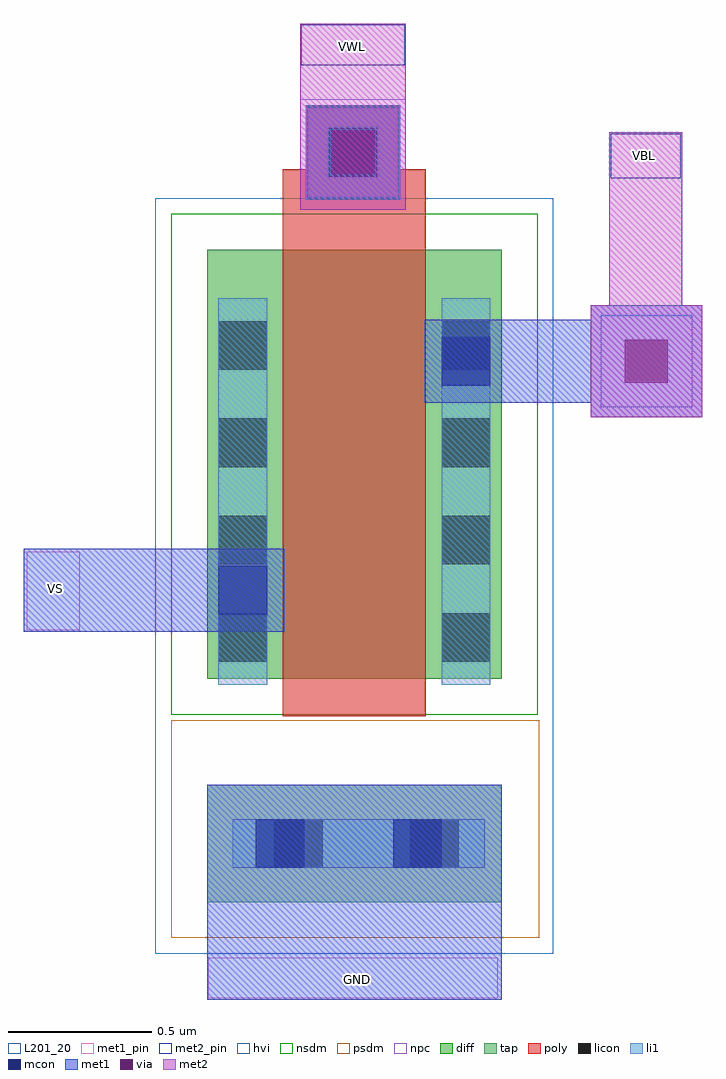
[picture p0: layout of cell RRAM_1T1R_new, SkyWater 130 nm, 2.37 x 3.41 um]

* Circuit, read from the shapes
.subckt RRAM_1T1R_new GND VBL VS VWL
XM1 VBL VWL VS GND sky130_fd_pr__nfet_g5v0d10v5 w=1.5 l=0.5
.ends

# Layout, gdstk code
from math import pi, radians
import gdstk
lib = gdstk.Library(unit=1e-6, precision=1e-09)
def R(c, l, rs):  # rectangles x0, y0, x1, y1
    for r in rs: c.add(gdstk.rectangle(r[:2], r[2:], *l))
def A(c, l, x, y, w, h, nx, ny, dx, dy):  # array of equal rectangles
    R(c, l, [(x+i*dx, y+j*dy, x+i*dx+w, y+j*dy+h) for i in range(nx) for j in range(ny)])
diff = (65, 20)
tap = (65, 44)
poly = (66, 20)
licon = (66, 44)
li1 = (67, 20)
mcon = (67, 44)
met1_pin = (68, 16)
met1 = (68, 20)
via = (68, 44)
met2_pin = (69, 16)
met2 = (69, 20)
hvi = (75, 20)
nsdm = (93, 44)
psdm = (94, 20)
npc = (95, 20)
L201_20 = (201, 20)

l1m1_c_cdns_630369580172 = lib.new_cell('L1M1_C_CDNS_6303695801729')
R(l1m1_c_cdns_630369580172, li1, [(-0.085,-0.085,0.085,0.085)])
R(l1m1_c_cdns_630369580172, mcon, [(-0.085,-0.085,0.085,0.085)])
R(l1m1_c_cdns_630369580172, met1, [(-0.16,-0.16,0.16,0.16)])

l1m1_c_cdns_630369580173 = lib.new_cell('L1M1_C_CDNS_6303695801734')
R(l1m1_c_cdns_630369580173, li1, [(-0.085,-0.085,0.085,0.085)])
R(l1m1_c_cdns_630369580173, mcon, [(-0.085,-0.085,0.085,0.085)])
R(l1m1_c_cdns_630369580173, met1, [(-0.145,-0.145,0.145,0.145)])

m1m2_c_cdns_630369580172 = lib.new_cell('M1M2_C_CDNS_6303695801725')
R(m1m2_c_cdns_630369580172, met1, [(-0.16,-0.16,0.16,0.16)])
R(m1m2_c_cdns_630369580172, via, [(-0.075,-0.075,0.075,0.075)])
R(m1m2_c_cdns_630369580172, met2, [(-0.16,-0.16,0.16,0.16)])

pyl1_c_cdns_630369580173 = lib.new_cell('PYL1_C_CDNS_6303695801737')
R(pyl1_c_cdns_630369580173, poly, [(-0.165,-0.165,0.165,0.165)])
R(pyl1_c_cdns_630369580173, licon, [(-0.085,-0.085,0.085,0.085)])
R(pyl1_c_cdns_630369580173, li1, [(-0.165,-0.165,0.165,0.165)])
R(pyl1_c_cdns_630369580173, npc, [(-0.185,-0.185,0.185,0.185)])

sky130_fd_pr_reram__rera = lib.new_cell('sky130_fd_pr_reram__reram_cell')
R(sky130_fd_pr_reram__rera, met1_pin, [(-0.195,-0.195,0.195,0.195)])
R(sky130_fd_pr_reram__rera, met1, [(-0.195,-0.195,0.195,0.195)])
R(sky130_fd_pr_reram__rera, via, [(-0.075,-0.075,0.075,0.075)])
R(sky130_fd_pr_reram__rera, met2_pin, [(-0.195,-0.195,0.195,0.195)])
R(sky130_fd_pr_reram__rera, met2, [(-0.195,-0.195,0.195,0.195)])
R(sky130_fd_pr_reram__rera, L201_20, [(-0.16,-0.16,0.16,0.16)])
sky130_fd_pr_reram__rera.add(gdstk.Label('TE', (0,0), layer=69, texttype=5))
sky130_fd_pr_reram__rera.add(gdstk.Label('BE', (0,0), layer=68, texttype=5))

dfl1sd_cdns_630369580179 = lib.new_cell('DFL1sd_CDNS_630369580179')
R(dfl1sd_cdns_630369580179, diff, [(0,0,0.265,1.5)])
A(dfl1sd_cdns_630369580179, licon, 0.055, 0.06, 0.17, 0.17, 1, 4, 0, 0.34)
R(dfl1sd_cdns_630369580179, li1, [(0.055,-0.02,0.225,1.33)])
R(dfl1sd_cdns_630369580179, nsdm, [(-0.125,-0.125,0.39,1.625)])

nfet_symbolic_cdns_63036 = lib.new_cell('nfet_symbolic_CDNS_630369580178')
R(nfet_symbolic_cdns_63036, diff, [(-0.25,0,0,1.5), (0,0,0.5,1.5), (0.5,0,0.75,1.5)])
R(nfet_symbolic_cdns_63036, poly, [(0,-0.13,0.5,1.63), (0,-0.13,0.5,0), (0,1.5,0.5,1.63)])
R(nfet_symbolic_cdns_63036, li1, [(-0.225,-0.02,-0.055,1.33), (0.555,-0.02,0.725,1.33)])
R(nfet_symbolic_cdns_63036, nsdm, [(-0.25,-0.125,0.75,1.625)])
nfet_symbolic_cdns_63036.add(gdstk.Reference(dfl1sd_cdns_630369580179, (0.5,0)))
nfet_symbolic_cdns_63036.add(gdstk.Reference(dfl1sd_cdns_630369580179, (0,0), rotation=pi, x_reflection=True))
nfet_symbolic_cdns_63036.add(gdstk.Label('D', (0.64,0.655), layer=83, texttype=44))
nfet_symbolic_cdns_63036.add(gdstk.Label('S', (-0.14,0.655), layer=83, texttype=44))

nfet_cdns_630369580177 = lib.new_cell('nfet_CDNS_630369580177')
R(nfet_cdns_630369580177, hvi, [(-0.445,-0.18,0.945,1.68)])
nfet_cdns_630369580177.add(gdstk.Reference(nfet_symbolic_cdns_63036, (0,0)))

rram_1t1r_new = lib.new_cell('RRAM_1T1R_new')
R(rram_1t1r_new, tap, [(0.18,-0.6,1.21,-0.19)])
R(rram_1t1r_new, poly, [(0.445,1.81,0.945,1.96)])
R(rram_1t1r_new, licon, [(0.415,-0.48,0.585,-0.31), (0.89,-0.48,1.06,-0.31)])
R(rram_1t1r_new, li1, [(0.27,-0.48,1.15,-0.31)])
R(rram_1t1r_new, mcon, [(0.35,-0.48,0.52,-0.31), (0.83,-0.48,1,-0.31)])
R(rram_1t1r_new, met1_pin, [(0.185,-0.935,1.195,-0.795), (-0.45,0.35,-0.265,0.625)])
R(rram_1t1r_new, met1, [(0.18,-0.94,1.21,-0.19), (-0.46,0.345,0.45,0.635), (0.94,1.145,1.575,1.435)])
R(rram_1t1r_new, met2_pin, [(1.59,1.93,1.835,2.085), (0.51,2.325,0.87,2.465)])
R(rram_1t1r_new, met2, [(1.585,1.445,1.84,2.09), (0.505,1.82,0.875,2.47)])
R(rram_1t1r_new, hvi, [(0,-0.78,1.39,0)])
R(rram_1t1r_new, psdm, [(0.055,-0.725,1.34,0.035)])
rram_1t1r_new.add(gdstk.Reference(l1m1_c_cdns_630369580172, (0.69,2.02)))
rram_1t1r_new.add(gdstk.Reference(l1m1_c_cdns_630369580173, (0.305,0.49)))
rram_1t1r_new.add(gdstk.Reference(l1m1_c_cdns_630369580173, (1.085,1.29)))
rram_1t1r_new.add(gdstk.Reference(m1m2_c_cdns_630369580172, (0.69,2.02)))
rram_1t1r_new.add(gdstk.Reference(pyl1_c_cdns_630369580173, (0.69,2.02)))
rram_1t1r_new.add(gdstk.Reference(sky130_fd_pr_reram__rera, (1.715,1.29)))
rram_1t1r_new.add(gdstk.Reference(nfet_cdns_630369580177, (0.445,0.18)))
rram_1t1r_new.add(gdstk.Label('VWL', (0.69,2.39), layer=69, texttype=16))
rram_1t1r_new.add(gdstk.Label('VBL', (1.71,2.01), layer=69, texttype=16))
rram_1t1r_new.add(gdstk.Label('GND', (0.705,-0.87), layer=68, texttype=16))
rram_1t1r_new.add(gdstk.Label('VS', (-0.35,0.495), layer=68, texttype=16))

lib.write_gds('RRAM_1T1R_new.gds')
